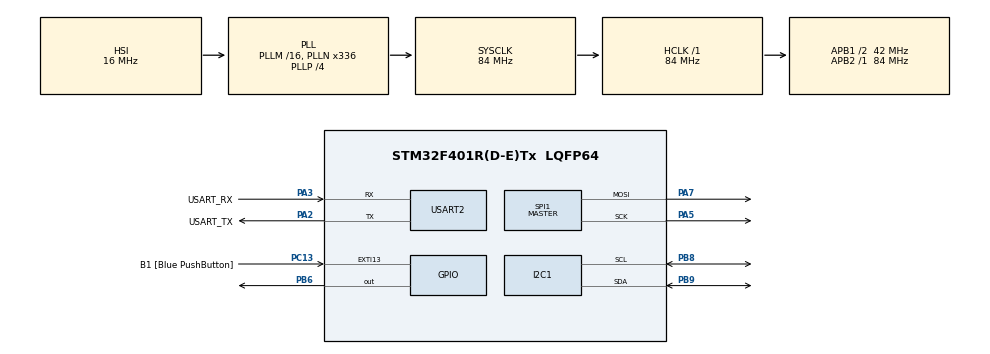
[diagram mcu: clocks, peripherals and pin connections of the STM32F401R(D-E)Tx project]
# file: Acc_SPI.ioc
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Dma.Request0=SPI1_TX
Dma.SPI1_TX.0.Direction=DMA_MEMORY_TO_PERIPH
Dma.SPI1_TX.0.FIFOMode=DMA_FIFOMODE_DISABLE
Dma.SPI1_TX.0.Instance=DMA2_Stream3
Dma.SPI1_TX.0.MemDataAlignment=DMA_MDATAALIGN_BYTE
Dma.SPI1_TX.0.MemInc=DMA_MINC_ENABLE
Dma.SPI1_TX.0.Mode=DMA_NORMAL
Dma.SPI1_TX.0.PeriphDataAlignment=DMA_PDATAALIGN_BYTE
Dma.SPI1_TX.0.PeriphInc=DMA_PINC_DISABLE
Dma.SPI1_TX.0.Priority=DMA_PRIORITY_LOW
Mcu.Family=STM32F4
Mcu.Name=STM32F401R(D-E)Tx
Mcu.Package=LQFP64
NVIC.DMA2_Stream3_IRQn=true\:0\:0\:false\:false\:true\:false\:true\:true
NVIC.PriorityGroup=NVIC_PRIORITYGROUP_0
NVIC.SPI1_IRQn=true\:0\:0\:false\:false\:true\:true\:true\:true
NVIC.TIM2_IRQn=true\:0\:0\:false\:false\:true\:true\:true\:true
NVIC.TIM3_IRQn=true\:0\:0\:false\:false\:true\:true\:true\:true
PA13.GPIO_Label=TMS
PA13.Mode=Serial_Wire
PA13.Signal=SYS_JTMS-SWDIO
PA14.GPIO_Label=TCK
PA14.Mode=Serial_Wire
PA14.Signal=SYS_JTCK-SWCLK
PA2.GPIO_Label=USART_TX
PA2.GPIO_Mode=GPIO_MODE_AF_PP
PA2.GPIO_PuPd=GPIO_NOPULL
PA2.GPIO_Speed=GPIO_SPEED_FREQ_LOW
PA2.Mode=Asynchronous
PA2.Signal=USART2_TX
PA3.GPIO_Label=USART_RX
PA3.GPIO_Mode=GPIO_MODE_AF_PP
PA3.GPIO_PuPd=GPIO_NOPULL
PA3.GPIO_Speed=GPIO_SPEED_FREQ_LOW
PA3.Mode=Asynchronous
PA3.Signal=USART2_RX
PA5.Mode=TX_Only_Simplex_Unidirect_Master
PA5.Signal=SPI1_SCK
PA7.Mode=TX_Only_Simplex_Unidirect_Master
PA7.Signal=SPI1_MOSI
PB3.GPIO_Label=SWO
PB3.Signal=SYS_JTDO-SWO
PB6.Signal=GPIO_Output
PB8.Mode=I2C
PB8.Signal=I2C1_SCL
PB9.Mode=I2C
PB9.Signal=I2C1_SDA
PC13-ANTI_TAMP.GPIO_Label=B1 [Blue PushButton]
PC13-ANTI_TAMP.GPIO_ModeDefaultEXTI=GPIO_MODE_IT_FALLING
PC13-ANTI_TAMP.GPIO_PuPd=GPIO_NOPULL
PC13-ANTI_TAMP.Signal=GPXTI13
PC14-OSC32_IN.Mode=LSE-External-Oscillator
PC14-OSC32_IN.Signal=RCC_OSC32_IN
PC15-OSC32_OUT.Mode=LSE-External-Oscillator
PC15-OSC32_OUT.Signal=RCC_OSC32_OUT
PH0\ -\ OSC_IN.Mode=HSE-External-Clock-Source
PH0\ -\ OSC_IN.Signal=RCC_OSC_IN
PH1\ -\ OSC_OUT.Mode=HSE-External-Clock-Source
PH1\ -\ OSC_OUT.Signal=RCC_OSC_OUT
ProjectManager.HeapSize=0x200
ProjectManager.StackSize=0x400
ProjectManager.TargetToolchain=STM32CubeIDE
RCC.48MHZClocksFreq_Value=48000000
RCC.AHBFreq_Value=84000000
RCC.APB1CLKDivider=RCC_HCLK_DIV2
RCC.APB1Freq_Value=42000000
RCC.APB1TimFreq_Value=84000000
RCC.APB2Freq_Value=84000000
RCC.APB2TimFreq_Value=84000000
RCC.CortexFreq_Value=84000000
RCC.HCLKFreq_Value=84000000
RCC.HSE_VALUE=8000000
RCC.HSI_VALUE=16000000
RCC.PLLN=336
RCC.PLLP=RCC_PLLP_DIV4
RCC.PLLQ=7
RCC.SYSCLKFreq_VALUE=84000000
RCC.SYSCLKSource=RCC_SYSCLKSOURCE_PLLCLK
RCC.VCOOutputFreq_Value=336000000
SPI1.BaudRatePrescaler=SPI_BAUDRATEPRESCALER_4
SPI1.Direction=SPI_DIRECTION_2LINES
SPI1.Mode=SPI_MODE_MASTER
SPI1.VirtualType=VM_MASTER
TIM2.Period=40-1
TIM2.Prescaler=8400-1
TIM3.Period=100-1
TIM3.Prescaler=8400-1
USART2.VirtualMode=VM_ASYNC
VP_TIM2_VS_ClockSourceINT.Mode=Internal
VP_TIM3_VS_ClockSourceINT.Mode=Internal
board=NUCLEO-F401RE

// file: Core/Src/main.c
/* USER CODE BEGIN Header */
/**
  ******************************************************************************
  * @file           : main.c
  * @brief          : Main program body
  ******************************************************************************
  * @attention
  *
  * Copyright (c) 2022 STMicroelectronics.
  * All rights reserved.
  *
  * This software is licensed under terms that can be found in the LICENSE file
  * in the root directory of this software component.
  * If no LICENSE file comes with this software, it is provided AS-IS.
  *
  ******************************************************************************
  */
/* USER CODE END Header */
#include "main.h"

/* USER CODE BEGIN PTD */
#define LSI_ADDR 0b01010000

uint8_t X_Reg = 0x29;
uint8_t Y_Reg = 0x2B;
uint8_t Z_Reg = 0x2D;
/* USER CODE END PTD */

I2C_HandleTypeDef hi2c1;

SPI_HandleTypeDef hspi1;
DMA_HandleTypeDef hdma_spi1_tx;

TIM_HandleTypeDef htim2;
TIM_HandleTypeDef htim3;

UART_HandleTypeDef huart2;

void SystemClock_Config(void);
static void MX_GPIO_Init(void);
static void MX_USART2_UART_Init(void);
static void MX_I2C1_Init(void);
static void MX_SPI1_Init(void);
static void MX_DMA_Init(void);
static void MX_TIM2_Init(void);
static void MX_TIM3_Init(void);

/* USER CODE BEGIN 0 */

uint8_t matrix[5][2]= {{8,16},{8,8}, {127,4}, {8,2}, {8,1}};

uint8_t matrix_P[5][2]= {{8,16},{8,8}, {127,4}, {8,2}, {8,1}};

uint8_t matrix_M[5][2]= {{8,16},{8,8}, {8,4}, {8,2}, {8,1}};

int8_t z_axes = 0;
int i =0;

void HAL_TIM_PeriodElapsedCallback(TIM_HandleTypeDef *htim)
{
	if(htim == &htim3)
	{
		HAL_I2C_Master_Transmit(&hi2c1, LSI_ADDR, &Z_Reg, 1, 200);

		HAL_I2C_Master_Receive(&hi2c1, LSI_ADDR+1, &z_axes, 1, 200);

		float z = z_axes / 64.0; //with a +- 2g sensitivity and 8 bits we can have 256 values spread between -2g and +2g hence the real value is obtained by multiplying for 4/256

		if(z >= 0)
		{
			memcpy(matrix,matrix_P,sizeof(matrix_P));
		}
		else
		{
			memcpy(matrix,matrix_M,sizeof(matrix_M));
		}
	}
	else if (htim == &htim2)
	{
		HAL_SPI_Transmit(&hspi1, matrix[i], 2,200);
		HAL_GPIO_WritePin(GPIOB, GPIO_PIN_6, GPIO_PIN_SET);
		i++;
		HAL_GPIO_WritePin(GPIOB, GPIO_PIN_6, GPIO_PIN_RESET);
		if(i>=5) i=0;
	}

}

/* USER CODE END 0 */

int main(void)
{

  /* MCU Configuration--------------------------------------------------------*/

  /* Reset of all peripherals, Initializes the Flash interface and the Systick. */
  HAL_Init();

  /* Configure the system clock */
  SystemClock_Config();

  /* Initialize all configured peripherals */
  MX_GPIO_Init();
  MX_USART2_UART_Init();
  MX_I2C1_Init();
  MX_SPI1_Init();
  MX_DMA_Init();
  MX_TIM2_Init();
  MX_TIM3_Init();
  /* USER CODE BEGIN 2 */

  HAL_TIM_Base_Start_IT(&htim2);
  HAL_TIM_Base_Start_IT(&htim3);
  uint8_t ctrl_reg4[] = {0x23, 0b00000000};

  HAL_I2C_Master_Transmit(&hi2c1, LSI_ADDR, ctrl_reg4, 2, 200);

  /* USER CODE END 2 */

  /* Infinite loop */
  while (1)
  {

  }
}

void SystemClock_Config(void)
{
  RCC_OscInitTypeDef RCC_OscInitStruct = {0};
  RCC_ClkInitTypeDef RCC_ClkInitStruct = {0};

  /** Configure the main internal regulator output voltage
  */
  __HAL_RCC_PWR_CLK_ENABLE();
  __HAL_PWR_VOLTAGESCALING_CONFIG(PWR_REGULATOR_VOLTAGE_SCALE2);
  /** Initializes the RCC Oscillators according to the specified parameters
  * in the RCC_OscInitTypeDef structure.
  */
  RCC_OscInitStruct.OscillatorType = RCC_OSCILLATORTYPE_HSI;
  RCC_OscInitStruct.HSIState = RCC_HSI_ON;
  RCC_OscInitStruct.HSICalibrationValue = RCC_HSICALIBRATION_DEFAULT;
  RCC_OscInitStruct.PLL.PLLState = RCC_PLL_ON;
  RCC_OscInitStruct.PLL.PLLSource = RCC_PLLSOURCE_HSI;
  RCC_OscInitStruct.PLL.PLLM = 16;
  RCC_OscInitStruct.PLL.PLLN = 336;
  RCC_OscInitStruct.PLL.PLLP = RCC_PLLP_DIV4;
  RCC_OscInitStruct.PLL.PLLQ = 7;
  if (HAL_RCC_OscConfig(&RCC_OscInitStruct) != HAL_OK)
  {
    Error_Handler();
  }
  /** Initializes the CPU, AHB and APB buses clocks
  */
  RCC_ClkInitStruct.ClockType = RCC_CLOCKTYPE_HCLK|RCC_CLOCKTYPE_SYSCLK
                              |RCC_CLOCKTYPE_PCLK1|RCC_CLOCKTYPE_PCLK2;
  RCC_ClkInitStruct.SYSCLKSource = RCC_SYSCLKSOURCE_PLLCLK;
  RCC_ClkInitStruct.AHBCLKDivider = RCC_SYSCLK_DIV1;
  RCC_ClkInitStruct.APB1CLKDivider = RCC_HCLK_DIV2;
  RCC_ClkInitStruct.APB2CLKDivider = RCC_HCLK_DIV1;

  if (HAL_RCC_ClockConfig(&RCC_ClkInitStruct, FLASH_LATENCY_2) != HAL_OK)
  {
    Error_Handler();
  }
}

static void MX_I2C1_Init(void)
{

  hi2c1.Instance = I2C1;
  hi2c1.Init.ClockSpeed = 100000;
  hi2c1.Init.DutyCycle = I2C_DUTYCYCLE_2;
  hi2c1.Init.OwnAddress1 = 0;
  hi2c1.Init.AddressingMode = I2C_ADDRESSINGMODE_7BIT;
  hi2c1.Init.DualAddressMode = I2C_DUALADDRESS_DISABLE;
  hi2c1.Init.OwnAddress2 = 0;
  hi2c1.Init.GeneralCallMode = I2C_GENERALCALL_DISABLE;
  hi2c1.Init.NoStretchMode = I2C_NOSTRETCH_DISABLE;
  if (HAL_I2C_Init(&hi2c1) != HAL_OK)
  {
    Error_Handler();
  }

}

static void MX_SPI1_Init(void)
{

  /* SPI1 parameter configuration*/
  hspi1.Instance = SPI1;
  hspi1.Init.Mode = SPI_MODE_MASTER;
  hspi1.Init.Direction = SPI_DIRECTION_2LINES;
  hspi1.Init.DataSize = SPI_DATASIZE_8BIT;
  hspi1.Init.CLKPolarity = SPI_POLARITY_LOW;
  hspi1.Init.CLKPhase = SPI_PHASE_1EDGE;
  hspi1.Init.NSS = SPI_NSS_SOFT;
  hspi1.Init.BaudRatePrescaler = SPI_BAUDRATEPRESCALER_4;
  hspi1.Init.FirstBit = SPI_FIRSTBIT_MSB;
  hspi1.Init.TIMode = SPI_TIMODE_DISABLE;
  hspi1.Init.CRCCalculation = SPI_CRCCALCULATION_DISABLE;
  hspi1.Init.CRCPolynomial = 10;
  if (HAL_SPI_Init(&hspi1) != HAL_OK)
  {
    Error_Handler();
  }

}

static void MX_TIM2_Init(void)
{

  TIM_ClockConfigTypeDef sClockSourceConfig = {0};
  TIM_MasterConfigTypeDef sMasterConfig = {0};

  htim2.Instance = TIM2;
  htim2.Init.Prescaler = 8400-1;
  htim2.Init.CounterMode = TIM_COUNTERMODE_UP;
  htim2.Init.Period = 40-1;
  htim2.Init.ClockDivision = TIM_CLOCKDIVISION_DIV1;
  htim2.Init.AutoReloadPreload = TIM_AUTORELOAD_PRELOAD_DISABLE;
  if (HAL_TIM_Base_Init(&htim2) != HAL_OK)
  {
    Error_Handler();
  }
  sClockSourceConfig.ClockSource = TIM_CLOCKSOURCE_INTERNAL;
  if (HAL_TIM_ConfigClockSource(&htim2, &sClockSourceConfig) != HAL_OK)
  {
    Error_Handler();
  }
  sMasterConfig.MasterOutputTrigger = TIM_TRGO_RESET;
  sMasterConfig.MasterSlaveMode = TIM_MASTERSLAVEMODE_DISABLE;
  if (HAL_TIMEx_MasterConfigSynchronization(&htim2, &sMasterConfig) != HAL_OK)
  {
    Error_Handler();
  }

}

static void MX_TIM3_Init(void)
{

  TIM_ClockConfigTypeDef sClockSourceConfig = {0};
  TIM_MasterConfigTypeDef sMasterConfig = {0};

  htim3.Instance = TIM3;
  htim3.Init.Prescaler = 8400-1;
  htim3.Init.CounterMode = TIM_COUNTERMODE_UP;
  htim3.Init.Period = 100-1;
  htim3.Init.ClockDivision = TIM_CLOCKDIVISION_DIV1;
  htim3.Init.AutoReloadPreload = TIM_AUTORELOAD_PRELOAD_DISABLE;
  if (HAL_TIM_Base_Init(&htim3) != HAL_OK)
  {
    Error_Handler();
  }
  sClockSourceConfig.ClockSource = TIM_CLOCKSOURCE_INTERNAL;
  if (HAL_TIM_ConfigClockSource(&htim3, &sClockSourceConfig) != HAL_OK)
  {
    Error_Handler();
  }
  sMasterConfig.MasterOutputTrigger = TIM_TRGO_RESET;
  sMasterConfig.MasterSlaveMode = TIM_MASTERSLAVEMODE_DISABLE;
  if (HAL_TIMEx_MasterConfigSynchronization(&htim3, &sMasterConfig) != HAL_OK)
  {
    Error_Handler();
  }

}

static void MX_USART2_UART_Init(void)
{

  huart2.Instance = USART2;
  huart2.Init.BaudRate = 115200;
  huart2.Init.WordLength = UART_WORDLENGTH_8B;
  huart2.Init.StopBits = UART_STOPBITS_1;
  huart2.Init.Parity = UART_PARITY_NONE;
  huart2.Init.Mode = UART_MODE_TX_RX;
  huart2.Init.HwFlowCtl = UART_HWCONTROL_NONE;
  huart2.Init.OverSampling = UART_OVERSAMPLING_16;
  if (HAL_UART_Init(&huart2) != HAL_OK)
  {
    Error_Handler();
  }

}

static void MX_DMA_Init(void)
{

  /* DMA controller clock enable */
  __HAL_RCC_DMA2_CLK_ENABLE();

  /* DMA interrupt init */
  /* DMA2_Stream3_IRQn interrupt configuration */
  HAL_NVIC_SetPriority(DMA2_Stream3_IRQn, 0, 0);
  HAL_NVIC_EnableIRQ(DMA2_Stream3_IRQn);

}

static void MX_GPIO_Init(void)
{
  GPIO_InitTypeDef GPIO_InitStruct = {0};

  /* GPIO Ports Clock Enable */
  __HAL_RCC_GPIOC_CLK_ENABLE();
  __HAL_RCC_GPIOH_CLK_ENABLE();
  __HAL_RCC_GPIOA_CLK_ENABLE();
  __HAL_RCC_GPIOB_CLK_ENABLE();

  /*Configure GPIO pin Output Level */
  HAL_GPIO_WritePin(GPIOB, GPIO_PIN_6, GPIO_PIN_RESET);

  /*Configure GPIO pin : B1_Pin */
  GPIO_InitStruct.Pin = B1_Pin;
  GPIO_InitStruct.Mode = GPIO_MODE_IT_FALLING;
  GPIO_InitStruct.Pull = GPIO_NOPULL;
  HAL_GPIO_Init(B1_GPIO_Port, &GPIO_InitStruct);

  /*Configure GPIO pin : PB6 */
  GPIO_InitStruct.Pin = GPIO_PIN_6;
  GPIO_InitStruct.Mode = GPIO_MODE_OUTPUT_PP;
  GPIO_InitStruct.Pull = GPIO_NOPULL;
  GPIO_InitStruct.Speed = GPIO_SPEED_FREQ_LOW;
  HAL_GPIO_Init(GPIOB, &GPIO_InitStruct);

}

void Error_Handler(void)
{
  __disable_irq();
  while (1)
  {
  }
}
